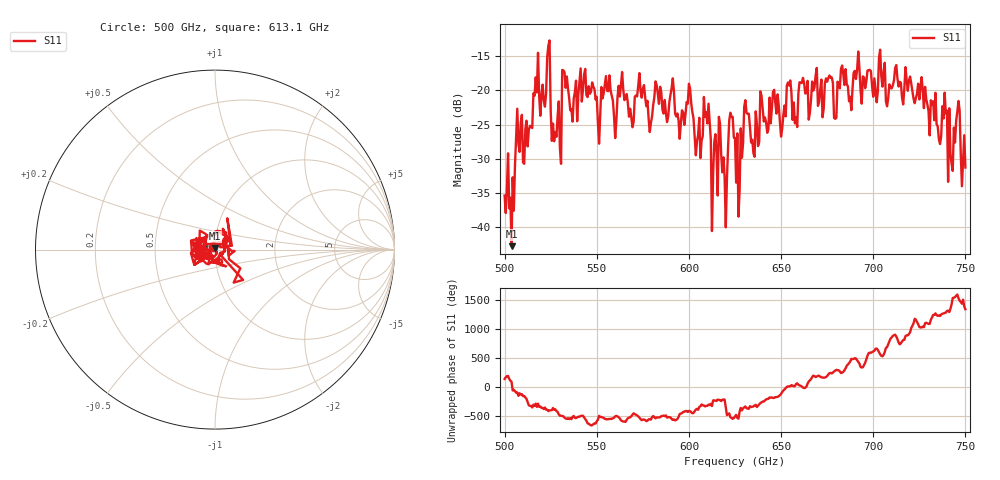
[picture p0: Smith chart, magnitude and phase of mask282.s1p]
!Created with skrf (http://scikit-rf.org).
# GHz S MA R 50.0
!freq magS11 angS11
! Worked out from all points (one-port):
!   401 points, 500 GHz to 750 GHz, reference 50 ohm
!   lowest |S11| = -42.7 dB at 503.8 GHz (marker M1), VSWR 1.01, Z = 50 + j0.73 ohm
!   |S11| at or under -10 dB: start of sweep to end of sweep
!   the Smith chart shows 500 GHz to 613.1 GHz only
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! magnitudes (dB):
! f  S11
! 500 GHz  -35.4
! 503.8 GHz  -42.7
! 507.5 GHz  -27.8
! 513.8 GHz  -25.2
! 516.9 GHz  -18.1
! 523.8 GHz  -13.5
! 526.9 GHz  -27.4
! 531.2 GHz  -17.1
! 532.5 GHz  -17.4
! 550.6 GHz  -24.8
! 562.5 GHz  -20.9
! 593.8 GHz  -23.4
! 609.4 GHz  -23.2
! 612.5 GHz  -40.5
! 619.4 GHz  -32.7
! 622.5 GHz  -23.3
! 625 GHz  -26.9
! 626.2 GHz  -26.3
! 631.2 GHz  -23.3
! 634.4 GHz  -27.2
! 656.2 GHz  -24.3
! 687.5 GHz  -21.0
! 718.8 GHz  -20.1
! 735.6 GHz  -27.1
! 738.8 GHz  -20.4
! 741.9 GHz  -29.2
! 745.6 GHz  -23.1
! 750 GHz  -31.3
